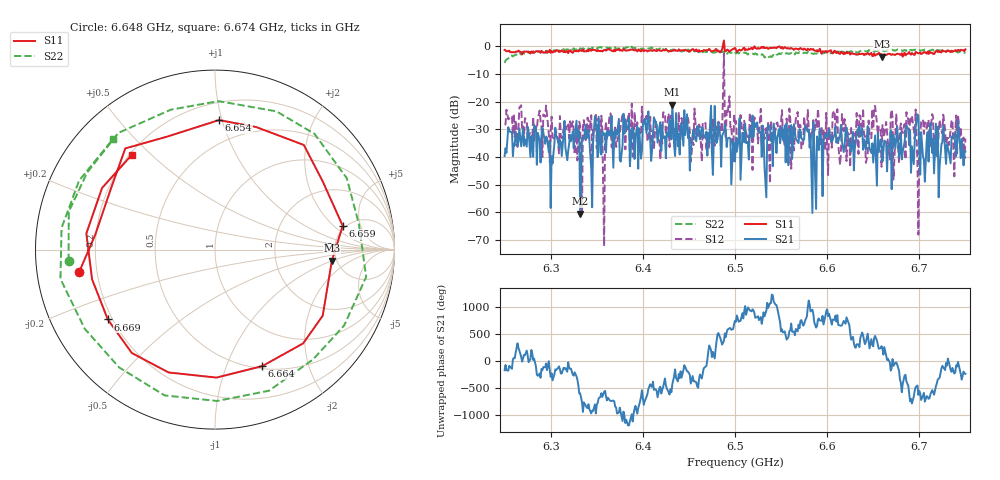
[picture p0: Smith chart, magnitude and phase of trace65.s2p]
# Hz S RI R 50
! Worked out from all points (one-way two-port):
!   401 points, 6.25 GHz to 6.75 GHz, reference 50 ohm
!   highest |S21| = -21.11 dB at 6.432 GHz (marker M1); lowest = -60.4 dB at 6.332 GHz (marker M2)
!   lowest |S11| = -3.7 dB at 6.66 GHz (marker M3), VSWR 4.78, Z = 228 - j49 ohm
!   |S11| at or under -10 dB: nowhere
!   |S22| runs from -6.0 to -0.1 dB; largest |S21 - S12| = 0.77
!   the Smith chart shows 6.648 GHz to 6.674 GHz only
!   S11 on the Smith chart (normalised r, x): 6.648 GHz: 0.13, -0.08; 6.654 GHz: 0.32, +0.98; 6.659 GHz: 4.73, +2.63; 6.664 GHz: 0.53, -1.35; 6.669 GHz: 0.18, -0.29; 6.674 GHz: 0.21, +0.44
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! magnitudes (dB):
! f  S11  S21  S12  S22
! 6.25 GHz  -1.3  -39.6  -28.2  -6.0
! 6.332 GHz  -1.5  -60.4  -28.8  -0.7
! 6.334 GHz  -1.6  -33.0  -60.5  -1.0
! 6.401 GHz  -1.8  -27.1  -25.8  -0.9
! 6.418 GHz  -1.4  -28.9  -33.9  -0.8
! 6.432 GHz  -1.5  -21.1  -31.2  -1.2
! 6.472 GHz  -0.9  -34.3  -35.8  -1.9
! 6.49 GHz  -1.7  -30.4  -33.4  -2.1
! 6.5 GHz  -0.5  -41.6  -28.4  -2.0
! 6.521 GHz  0.0  -27.6  -25.6  -2.9
! 6.531 GHz  -0.1  -31.9  -29.7  -3.3
! 6.538 GHz  -0.5  -29.0  -49.5  -3.6
! 6.584 GHz  -1.2  -60.2  -30.7  -2.6
! 6.648 GHz  -2.3  -38.5  -33.2  -1.7
! 6.654 GHz  -2.8  -50.4  -27.8  -1.6
! 6.659 GHz  -2.8  -34.8  -43.5  -1.8
! 6.66 GHz  -3.7  -41.6  -28.4  -1.4
! 6.664 GHz  -3.1  -34.5  -27.3  -1.5
! 6.668 GHz  -2.6  -36.4  -40.9  -1.5
! 6.669 GHz  -2.9  -30.3  -24.8  -1.4
! 6.674 GHz  -3.1  -36.8  -32.4  -1.5
! 6.75 GHz  -1.1  -38.0  -33.3  -2.5
